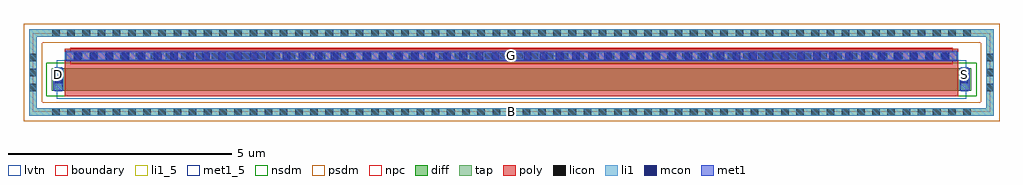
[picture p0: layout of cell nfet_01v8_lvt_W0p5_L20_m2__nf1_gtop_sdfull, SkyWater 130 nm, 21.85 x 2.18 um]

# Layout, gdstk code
import gdstk
lib = gdstk.Library(unit=1e-6, precision=1e-09)
def R(c, l, rs):  # rectangles x0, y0, x1, y1
    for r in rs: c.add(gdstk.rectangle(r[:2], r[2:], *l))
def A(c, l, x, y, w, h, nx, ny, dx, dy):  # array of equal rectangles
    R(c, l, [(x+i*dx, y+j*dy, x+i*dx+w, y+j*dy+h) for i in range(nx) for j in range(ny)])
diff = (65, 20)
tap = (65, 44)
poly = (66, 20)
licon = (66, 44)
li1_5 = (67, 5)
li1 = (67, 20)
mcon = (67, 44)
met1_5 = (68, 5)
met1 = (68, 20)
nsdm = (93, 44)
psdm = (94, 20)
npc = (95, 20)
lvtn = (125, 44)
boundary = (235, 4)

sky130_fd_pr__nfet_01v8_ = lib.new_cell('sky130_fd_pr__nfet_01v8_lvt_28NCBW')
R(sky130_fd_pr__nfet_01v8_, diff, [(-10.29,-0.405,10.29,0.095)])
R(sky130_fd_pr__nfet_01v8_, tap, [(-10.8,-0.965,10.8,-0.795), (-10.8,-0.795,-10.63,0.795), (10.63,-0.795,10.8,0.795), (-10.8,0.795,10.8,0.965)])
R(sky130_fd_pr__nfet_01v8_, poly, [(-10,-0.535,10,0.535)])
A(sky130_fd_pr__nfet_01v8_, licon, -10.285, -0.965, 0.17, 0.17, 61, 2, 0.34, 1.76)
A(sky130_fd_pr__nfet_01v8_, licon, -10.8, -0.425, 0.17, 0.17, 1, 3, 0, 0.34)
A(sky130_fd_pr__nfet_01v8_, licon, 10.63, -0.425, 0.17, 0.17, 1, 3, 0, 0.34)
A(sky130_fd_pr__nfet_01v8_, licon, -9.775, 0.285, 0.17, 0.17, 58, 1, 0.34, 0)
R(sky130_fd_pr__nfet_01v8_, licon, [(-10.23,-0.24,-10.06,-0.07), (10.06,-0.24,10.23,-0.07)])
R(sky130_fd_pr__nfet_01v8_, li1, [(-10.8,-0.965,10.8,-0.795), (-10.8,-0.795,-10.63,0.795), (10.63,-0.795,10.8,0.795), (-10.23,-0.425,-10.06,0.115), (10.06,-0.425,10.23,0.115), (-10,0.285,10,0.455), (-10.8,0.795,10.8,0.965)])
A(sky130_fd_pr__nfet_01v8_, mcon, -9.805, 0.285, 0.17, 0.17, 55, 1, 0.36, 0)
R(sky130_fd_pr__nfet_01v8_, mcon, [(-10.23,-0.24,-10.06,-0.07), (10.06,-0.24,10.23,-0.07)])
R(sky130_fd_pr__nfet_01v8_, met1, [(-10.26,-0.405,-10.03,0.095), (10.03,-0.405,10.26,0.095), (-9.98,0.255,9.98,0.485)])
R(sky130_fd_pr__nfet_01v8_, nsdm, [(-10.415,-0.53,10.415,0.22)])
R(sky130_fd_pr__nfet_01v8_, psdm, [(-10.925,-1.09,10.925,-0.67), (-10.925,-0.67,-10.505,0.67), (10.505,-0.67,10.925,0.67), (-10.925,0.67,10.925,1.09)])
R(sky130_fd_pr__nfet_01v8_, npc, [(-9.875,0.185,9.875,0.555)])
R(sky130_fd_pr__nfet_01v8_, lvtn, [(-10.18,-0.585,10.18,0.275)])
R(sky130_fd_pr__nfet_01v8_, boundary, [(-10.715,-0.88,10.715,0.88)])
sky130_fd_pr__nfet_01v8_.add(gdstk.Label('B', (0,-0.88), layer=67, texttype=5))
sky130_fd_pr__nfet_01v8_.add(gdstk.Label('D', (-10.145,-0.155), layer=67, texttype=5))
sky130_fd_pr__nfet_01v8_.add(gdstk.Label('S', (10.145,-0.155), layer=67, texttype=5))
sky130_fd_pr__nfet_01v8_.add(gdstk.Label('G', (0,0.37), layer=67, texttype=5))

nfet_01v8_lvt_w0p5_l20_m = lib.new_cell('nfet_01v8_lvt_W0p5_L20_m2__nf1_gtop_sdfull')
R(nfet_01v8_lvt_w0p5_l20_m, li1_5, [(10.63,-0.085,10.8,0.085)])
R(nfet_01v8_lvt_w0p5_l20_m, li1, [(10.63,-0.085,10.8,0.085)])
R(nfet_01v8_lvt_w0p5_l20_m, met1_5, [(0.455,0.725,0.685,0.925), (20.745,0.725,20.975,0.925), (0.735,1.135,20.695,1.365)])
R(nfet_01v8_lvt_w0p5_l20_m, met1, [(0.455,0.725,0.685,0.925), (20.745,0.725,20.975,0.925), (0.735,1.135,20.695,1.365)])
nfet_01v8_lvt_w0p5_l20_m.add(gdstk.Reference(sky130_fd_pr__nfet_01v8_, (10.715,0.88)))
nfet_01v8_lvt_w0p5_l20_m.add(gdstk.Label('D', (0.57,0.825), layer=68, texttype=5))
nfet_01v8_lvt_w0p5_l20_m.add(gdstk.Label('S', (20.86,0.825), layer=68, texttype=5))
nfet_01v8_lvt_w0p5_l20_m.add(gdstk.Label('G', (10.715,1.25), layer=68, texttype=5))
nfet_01v8_lvt_w0p5_l20_m.add(gdstk.Label('B', (10.715,0), layer=67, texttype=5))

lib.write_gds('nfet_01v8_lvt_W0p5_L20_m2__nf1_gtop_sdfull.gds')
